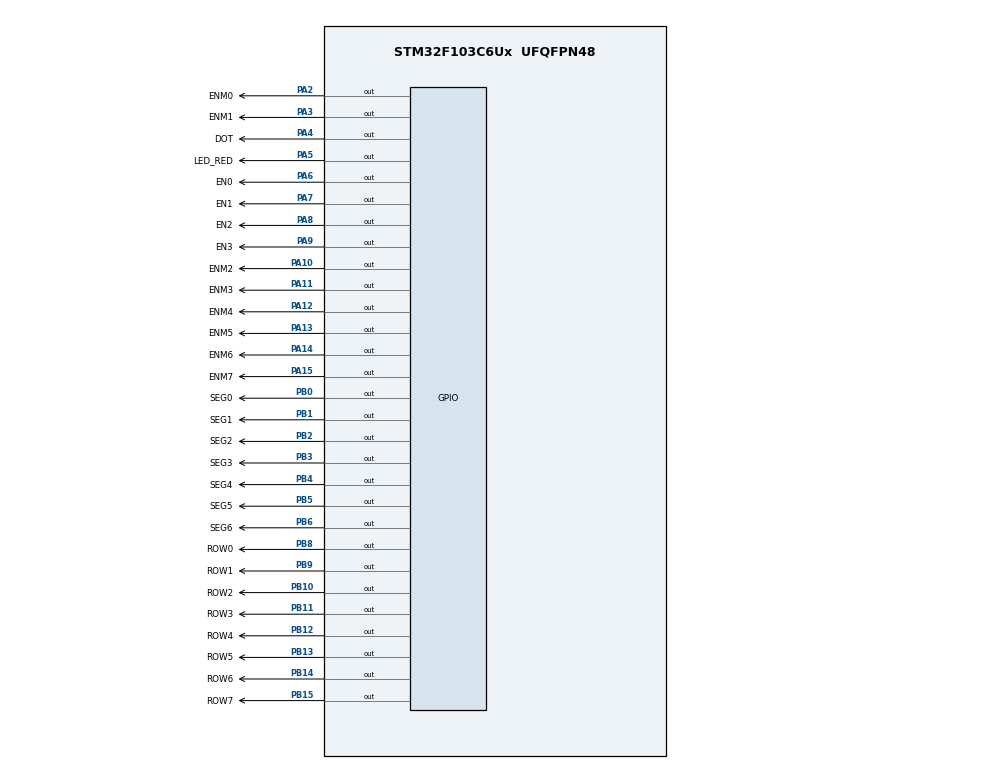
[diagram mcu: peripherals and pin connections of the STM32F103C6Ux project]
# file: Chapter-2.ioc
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Mcu.Family=STM32F1
Mcu.Name=STM32F103C6Ux
Mcu.Package=UFQFPN48
NVIC.PriorityGroup=NVIC_PRIORITYGROUP_4
NVIC.TIM2_IRQn=true\:0\:0\:false\:false\:true\:true\:true
PA10.GPIO_Label=ENM2
PA10.Signal=GPIO_Output
PA11.GPIO_Label=ENM3
PA11.Signal=GPIO_Output
PA12.GPIO_Label=ENM4
PA12.Signal=GPIO_Output
PA13.GPIO_Label=ENM5
PA13.Signal=GPIO_Output
PA14.GPIO_Label=ENM6
PA14.Signal=GPIO_Output
PA15.GPIO_Label=ENM7
PA15.Signal=GPIO_Output
PA2.GPIO_Label=ENM0
PA2.Signal=GPIO_Output
PA3.GPIO_Label=ENM1
PA3.Signal=GPIO_Output
PA4.GPIO_Label=DOT
PA4.Signal=GPIO_Output
PA5.GPIO_Label=LED_RED
PA5.Signal=GPIO_Output
PA6.GPIO_Label=EN0
PA6.Signal=GPIO_Output
PA7.GPIO_Label=EN1
PA7.Signal=GPIO_Output
PA8.GPIO_Label=EN2
PA8.Signal=GPIO_Output
PA9.GPIO_Label=EN3
PA9.Signal=GPIO_Output
PB0.GPIO_Label=SEG0
PB0.Signal=GPIO_Output
PB1.GPIO_Label=SEG1
PB1.Signal=GPIO_Output
PB10.GPIO_Label=ROW2
PB10.Signal=GPIO_Output
PB11.GPIO_Label=ROW3
PB11.Signal=GPIO_Output
PB12.GPIO_Label=ROW4
PB12.Signal=GPIO_Output
PB13.GPIO_Label=ROW5
PB13.Signal=GPIO_Output
PB14.GPIO_Label=ROW6
PB14.Signal=GPIO_Output
PB15.GPIO_Label=ROW7
PB15.Signal=GPIO_Output
PB2.GPIO_Label=SEG2
PB2.Signal=GPIO_Output
PB3.GPIO_Label=SEG3
PB3.Signal=GPIO_Output
PB4.GPIO_Label=SEG4
PB4.Signal=GPIO_Output
PB5.GPIO_Label=SEG5
PB5.Signal=GPIO_Output
PB6.GPIO_Label=SEG6
PB6.Signal=GPIO_Output
PB8.GPIO_Label=ROW0
PB8.Signal=GPIO_Output
PB9.GPIO_Label=ROW1
PB9.Signal=GPIO_Output
ProjectManager.HeapSize=0x200
ProjectManager.StackSize=0x400
ProjectManager.TargetToolchain=STM32CubeIDE
RCC.APB1Freq_Value=8000000
RCC.APB2Freq_Value=8000000
TIM2.Period=9
TIM2.Prescaler=799
VP_SYS_VS_ND.Mode=No_Debug
VP_TIM2_VS_ClockSourceINT.Mode=Internal
board=custom

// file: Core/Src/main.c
/* USER CODE BEGIN Header */
/**
  ******************************************************************************
  * @file           : main.c
  * @brief          : Main program body
  ******************************************************************************
  * @attention
  *
  * <h2><center>&copy; Copyright (c) 2025 STMicroelectronics.
  * All rights reserved.</center></h2>
  *
  * This software component is licensed by ST under BSD 3-Clause license,
  * the "License"; You may not use this file except in compliance with the
  * License. You may obtain a copy of the License at:
  *                        opensource.org/licenses/BSD-3-Clause
  *
  ******************************************************************************
  */
/* USER CODE END Header */
#include "main.h"

/* USER CODE BEGIN Includes */
#include "SoftwareTimer.h"
/* USER CODE END Includes */

TIM_HandleTypeDef htim2;

void SystemClock_Config(void);
static void MX_GPIO_Init(void);
static void MX_TIM2_Init(void);

/* USER CODE BEGIN 0 */
void display7SEG(int num)
{
	switch (num)
	{
		case 0:
			  HAL_GPIO_WritePin(SEG0_GPIO_Port, SEG0_Pin, RESET);
			  HAL_GPIO_WritePin(SEG1_GPIO_Port, SEG1_Pin, RESET);
			  HAL_GPIO_WritePin(SEG2_GPIO_Port, SEG2_Pin, RESET);
			  HAL_GPIO_WritePin(SEG3_GPIO_Port, SEG3_Pin, RESET);
			  HAL_GPIO_WritePin(SEG4_GPIO_Port, SEG4_Pin, RESET);
			  HAL_GPIO_WritePin(SEG5_GPIO_Port, SEG5_Pin, RESET);
			  HAL_GPIO_WritePin(SEG6_GPIO_Port, SEG6_Pin, SET);
			  break;
		case 1:
			  HAL_GPIO_WritePin(SEG0_GPIO_Port, SEG0_Pin, SET);
			  HAL_GPIO_WritePin(SEG1_GPIO_Port, SEG1_Pin, RESET);
			  HAL_GPIO_WritePin(SEG2_GPIO_Port, SEG2_Pin, RESET);
			  HAL_GPIO_WritePin(SEG3_GPIO_Port, SEG3_Pin, SET);
			  HAL_GPIO_WritePin(SEG4_GPIO_Port, SEG4_Pin, SET);
			  HAL_GPIO_WritePin(SEG5_GPIO_Port, SEG5_Pin, SET);
			  HAL_GPIO_WritePin(SEG6_GPIO_Port, SEG6_Pin, SET);
			  break;
		case 2:
			  HAL_GPIO_WritePin(SEG0_GPIO_Port, SEG0_Pin, RESET);
			  HAL_GPIO_WritePin(SEG1_GPIO_Port, SEG1_Pin, RESET);
			  HAL_GPIO_WritePin(SEG2_GPIO_Port, SEG2_Pin, SET);
			  HAL_GPIO_WritePin(SEG3_GPIO_Port, SEG3_Pin, RESET);
			  HAL_GPIO_WritePin(SEG4_GPIO_Port, SEG4_Pin, RESET);
			  HAL_GPIO_WritePin(SEG5_GPIO_Port, SEG5_Pin, SET);
			  HAL_GPIO_WritePin(SEG6_GPIO_Port, SEG6_Pin, RESET);
			  break;
		case 3:
			  HAL_GPIO_WritePin(SEG0_GPIO_Port, SEG0_Pin, RESET);
			  HAL_GPIO_WritePin(SEG1_GPIO_Port, SEG1_Pin, RESET);
			  HAL_GPIO_WritePin(SEG2_GPIO_Port, SEG2_Pin, RESET);
			  HAL_GPIO_WritePin(SEG3_GPIO_Port, SEG3_Pin, RESET);
			  HAL_GPIO_WritePin(SEG4_GPIO_Port, SEG4_Pin, SET);
			  HAL_GPIO_WritePin(SEG5_GPIO_Port, SEG5_Pin, SET);
			  HAL_GPIO_WritePin(SEG6_GPIO_Port, SEG6_Pin, RESET);
			  break;
		case 4:
			  HAL_GPIO_WritePin(SEG0_GPIO_Port, SEG0_Pin, SET);
			  HAL_GPIO_WritePin(SEG1_GPIO_Port, SEG1_Pin, RESET);
			  HAL_GPIO_WritePin(SEG2_GPIO_Port, SEG2_Pin, RESET);
			  HAL_GPIO_WritePin(SEG3_GPIO_Port, SEG3_Pin, SET);
			  HAL_GPIO_WritePin(SEG4_GPIO_Port, SEG4_Pin, SET);
			  HAL_GPIO_WritePin(SEG5_GPIO_Port, SEG5_Pin, RESET);
			  HAL_GPIO_WritePin(SEG6_GPIO_Port, SEG6_Pin, RESET);
			  break;
		case 5:
			  HAL_GPIO_WritePin(SEG0_GPIO_Port, SEG0_Pin, RESET);
			  HAL_GPIO_WritePin(SEG1_GPIO_Port, SEG1_Pin, SET);
			  HAL_GPIO_WritePin(SEG2_GPIO_Port, SEG2_Pin, RESET);
			  HAL_GPIO_WritePin(SEG3_GPIO_Port, SEG3_Pin, RESET);
			  HAL_GPIO_WritePin(SEG4_GPIO_Port, SEG4_Pin, SET);
			  HAL_GPIO_WritePin(SEG5_GPIO_Port, SEG5_Pin, RESET);
			  HAL_GPIO_WritePin(SEG6_GPIO_Port, SEG6_Pin, RESET);
			  break;
		case 6:
			  HAL_GPIO_WritePin(SEG0_GPIO_Port, SEG0_Pin, RESET);
			  HAL_GPIO_WritePin(SEG1_GPIO_Port, SEG1_Pin, SET);
			  HAL_GPIO_WritePin(SEG2_GPIO_Port, SEG2_Pin, RESET);
			  HAL_GPIO_WritePin(SEG3_GPIO_Port, SEG3_Pin, RESET);
			  HAL_GPIO_WritePin(SEG4_GPIO_Port, SEG4_Pin, RESET);
			  HAL_GPIO_WritePin(SEG5_GPIO_Port, SEG5_Pin, RESET);
			  HAL_GPIO_WritePin(SEG6_GPIO_Port, SEG6_Pin, RESET);
			  break;
		case 7:
			  HAL_GPIO_WritePin(SEG0_GPIO_Port, SEG0_Pin, RESET);
			  HAL_GPIO_WritePin(SEG1_GPIO_Port, SEG1_Pin, RESET);
			  HAL_GPIO_WritePin(SEG2_GPIO_Port, SEG2_Pin, RESET);
			  HAL_GPIO_WritePin(SEG3_GPIO_Port, SEG3_Pin, SET);
			  HAL_GPIO_WritePin(SEG4_GPIO_Port, SEG4_Pin, SET);
			  HAL_GPIO_WritePin(SEG5_GPIO_Port, SEG5_Pin, SET);
			  HAL_GPIO_WritePin(SEG6_GPIO_Port, SEG6_Pin, SET);
			  break;
		case 8:
			  HAL_GPIO_WritePin(SEG0_GPIO_Port, SEG0_Pin, RESET);
			  HAL_GPIO_WritePin(SEG1_GPIO_Port, SEG1_Pin, RESET);
			  HAL_GPIO_WritePin(SEG2_GPIO_Port, SEG2_Pin, RESET);
			  HAL_GPIO_WritePin(SEG3_GPIO_Port, SEG3_Pin, RESET);
			  HAL_GPIO_WritePin(SEG4_GPIO_Port, SEG4_Pin, RESET);
			  HAL_GPIO_WritePin(SEG5_GPIO_Port, SEG5_Pin, RESET);
			  HAL_GPIO_WritePin(SEG6_GPIO_Port, SEG6_Pin, RESET);
			  break;
		case 9:
			  HAL_GPIO_WritePin(SEG0_GPIO_Port, SEG0_Pin, RESET);
			  HAL_GPIO_WritePin(SEG1_GPIO_Port, SEG1_Pin, RESET);
			  HAL_GPIO_WritePin(SEG2_GPIO_Port, SEG2_Pin, RESET);
			  HAL_GPIO_WritePin(SEG3_GPIO_Port, SEG3_Pin, RESET);
			  HAL_GPIO_WritePin(SEG4_GPIO_Port, SEG4_Pin, SET);
			  HAL_GPIO_WritePin(SEG5_GPIO_Port, SEG5_Pin, RESET);
			  HAL_GPIO_WritePin(SEG6_GPIO_Port, SEG6_Pin, RESET);
			  break;
		default:
				break;
	}
}

const int MAX_LED = 4;
int index_led = 0;
int led_buffer[4] = {1, 2, 3, 4};
void update7SEG(int index)
{
    // Disable all segment
    HAL_GPIO_WritePin(EN0_GPIO_Port, EN0_Pin, SET);
    HAL_GPIO_WritePin(EN1_GPIO_Port, EN1_Pin, SET);
    HAL_GPIO_WritePin(EN2_GPIO_Port, EN2_Pin, SET);
    HAL_GPIO_WritePin(EN3_GPIO_Port, EN3_Pin, SET);

    // Update new data for index
    display7SEG(led_buffer[index]);

    // Display current index
    switch (index)
    {
        case 0: HAL_GPIO_WritePin(EN0_GPIO_Port, EN0_Pin, RESET); break;
        case 1: HAL_GPIO_WritePin(EN1_GPIO_Port, EN1_Pin, RESET); break;
        case 2: HAL_GPIO_WritePin(EN2_GPIO_Port, EN2_Pin, RESET); break;
        case 3: HAL_GPIO_WritePin(EN3_GPIO_Port, EN3_Pin, RESET); break;
        default: break;
    }
}

int hour = 15, minute = 8, second = 50;
void updateClockBuffer()
{
	led_buffer[0] = hour/10;
	led_buffer[1] = hour%10;
	led_buffer[2] = minute/10;
	led_buffer[3] = minute%10;
}

const int MAX_LED_MATRIX = 8;
int index_led_matrix = 0;
uint8_t matrix_buffer[8] = {
		0b00011000,
	    0b00111100,
	    0b01100110,
	    0b11000011,
	    0b11111111,
	    0b11111111,
	    0b11000011,
	    0b11000011
};

void displayROW(uint8_t matrix_buffer[], int index)
{
    GPIO_PinState state;
    for (int bit = 0; bit < 8; bit++)
    {
        state = (matrix_buffer[index] & (1 << bit)) ? RESET : SET;
        switch (bit)
        {
		case 0: HAL_GPIO_WritePin(ENM0_GPIO_Port, ENM0_Pin, state); break;
		case 1: HAL_GPIO_WritePin(ENM1_GPIO_Port, ENM1_Pin, state); break;
		case 2: HAL_GPIO_WritePin(ENM2_GPIO_Port, ENM2_Pin, state); break;
		case 3: HAL_GPIO_WritePin(ENM3_GPIO_Port, ENM3_Pin, state); break;
		case 4: HAL_GPIO_WritePin(ENM4_GPIO_Port, ENM4_Pin, state); break;
		case 5: HAL_GPIO_WritePin(ENM5_GPIO_Port, ENM5_Pin, state); break;
		case 6: HAL_GPIO_WritePin(ENM6_GPIO_Port, ENM6_Pin, state); break;
		case 7: HAL_GPIO_WritePin(ENM7_GPIO_Port, ENM7_Pin, state); break;
		default: break;
        }
    }
}

void updateLEDMatrix(int index)
{
	// Disable all leds
    HAL_GPIO_WritePin(ROW0_GPIO_Port, ROW0_Pin, SET);
    HAL_GPIO_WritePin(ROW1_GPIO_Port, ROW1_Pin, SET);
    HAL_GPIO_WritePin(ROW2_GPIO_Port, ROW2_Pin, SET);
    HAL_GPIO_WritePin(ROW3_GPIO_Port, ROW3_Pin, SET);
    HAL_GPIO_WritePin(ROW4_GPIO_Port, ROW4_Pin, SET);
    HAL_GPIO_WritePin(ROW5_GPIO_Port, ROW5_Pin, SET);
    HAL_GPIO_WritePin(ROW6_GPIO_Port, ROW6_Pin, SET);
    HAL_GPIO_WritePin(ROW7_GPIO_Port, ROW7_Pin, SET);

    // Update state for columns (of index = row)
    displayROW(matrix_buffer, index);

    // Display current row
    switch (index)
    {
    case 0: HAL_GPIO_WritePin(ROW0_GPIO_Port, ROW0_Pin, RESET); break;
    case 1: HAL_GPIO_WritePin(ROW1_GPIO_Port, ROW1_Pin, RESET); break;
    case 2: HAL_GPIO_WritePin(ROW2_GPIO_Port, ROW2_Pin, RESET); break;
    case 3: HAL_GPIO_WritePin(ROW3_GPIO_Port, ROW3_Pin, RESET); break;
    case 4: HAL_GPIO_WritePin(ROW4_GPIO_Port, ROW4_Pin, RESET); break;
    case 5: HAL_GPIO_WritePin(ROW5_GPIO_Port, ROW5_Pin, RESET); break;
    case 6: HAL_GPIO_WritePin(ROW6_GPIO_Port, ROW6_Pin, RESET); break;
    case 7: HAL_GPIO_WritePin(ROW7_GPIO_Port, ROW7_Pin, RESET); break;
    default: break;
    }
}

uint8_t animation_frames[][8] = {
		{0b00011000,
		 0b00000000,
		 0b00000000,
		 0b00000000,
		 0b00000000,
		 0b00000000,
		 0b00000000,
		 0b00000000}, // Frame 0

		{0b00111100,
		 0b00011000,
		 0b00000000,
		 0b00000000,
		 0b00000000,
		 0b00000000,
		 0b00000000,
		 0b00000000}, // Frame 1

		{0b01111110,
		 0b00111100,
		 0b00011000,
		 0b00000000,
		 0b00000000,
		 0b00000000,
		 0b00000000,
		 0b00000000}, // Frame 2

		{0b11111111,
		 0b01111110,
		 0b00111100,
		 0b00011000,
		 0b00000000,
		 0b00000000,
		 0b00000000,
		 0b00000000}, // Frame 3

		{0b11111111,
		 0b11111111,
		 0b01111110,
		 0b00111100,
		 0b00011000,
		 0b00000000,
		 0b00000000,
		 0b00000000}, // Frame 4

		{0b01100110,
		 0b11111111,
		 0b11111111,
		 0b01111110,
		 0b00111100,
		 0b00011000,
		 0b00000000,
		 0b00000000}, // Frame 5

		{0b00000000,
		 0b01100110,
		 0b11111111,
		 0b11111111,
		 0b01111110,
		 0b00111100,
		 0b00011000,
		 0b00000000}, // Frame 6

		{0b00000000,
		 0b11000011,
		 0b11100111,
		 0b11100111,
		 0b11100111,
		 0b01100110,
		 0b00100100,
		 0b00000000}, // Frame 7

		{0b00000000,
		 0b10000001,
		 0b11000011,
		 0b11000011,
		 0b11000011,
		 0b11000011,
		 0b01000010,
		 0b00000000}, // Frame 8

		{0b00000000,
		 0b00000000,
		 0b10000001,
		 0b10000001,
		 0b10000001,
		 0b10000001,
		 0b10000001,
		 0b00000000}, // Frame 9

		{0b00000000,
		 0b00000000,
		 0b00000000,
		 0b00000000,
		 0b00000000,
		 0b00000000,
		 0b00000000,
		 0b00000000}, // Frame 10
};

int current_frame = 0;
int total_frames = sizeof(animation_frames)/sizeof(animation_frames[0]);
uint16_t frame_delays[] = {100, 100, 100, 100, 100, 100, 500, 80, 80, 80, 80};
void updateAnimation()
{
	for (int i = 0; i < 8; i++)
	{
		matrix_buffer[i] = animation_frames[current_frame][i];
	}
	current_frame = (current_frame + 1)%total_frames;
}
/* USER CODE END 0 */

int main(void)
{

  /* MCU Configuration--------------------------------------------------------*/

  /* Reset of all peripherals, Initializes the Flash interface and the Systick. */
  HAL_Init();

  /* Configure the system clock */
  SystemClock_Config();

  /* Initialize all configured peripherals */
  MX_GPIO_Init();
  MX_TIM2_Init();
  /* USER CODE BEGIN 2 */
  HAL_TIM_Base_Start_IT(&htim2);
  /* USER CODE END 2 */

  /* Infinite loop */
  /* USER CODE BEGIN WHILE */
  setTimer(0, 10);
  setTimer(1, 25);
  setTimer(2, 40);
  setTimer(3, 30);
  while (1)
  {
	  updateClockBuffer();
	  if (timer_flag[0] == 1)
	  {
		  setTimer(0, 1000);
		  HAL_GPIO_TogglePin(LED_RED_GPIO_Port, LED_RED_Pin);
		  HAL_GPIO_TogglePin(DOT_GPIO_Port, DOT_Pin);
		  second++;
          if (second >= 60)
          {
              second = 0;
              minute++;
          }
          if (minute >= 60)
          {
              minute = 0;
              hour++;
          }
          if (hour >= 24)
          {
              hour = 0;
          }
	  }

	  if (timer_flag[1] == 1)
	  {
		  setTimer(1, 50);
		  update7SEG(index_led++);
		  if (index_led >= 4) index_led = 0;
	  }

	  if (timer_flag[2] == 1)
	  {
		  setTimer(2, 2);
		  updateLEDMatrix(index_led_matrix++);
		  if (index_led_matrix >= 8) index_led_matrix = 0;
	  }

	  if (timer_flag[3] == 1)
	  {
		  setTimer(3, frame_delays[current_frame]);
		  updateAnimation();
	  }
    /* USER CODE END WHILE */

  }
}

void SystemClock_Config(void)
{
  RCC_OscInitTypeDef RCC_OscInitStruct = {0};
  RCC_ClkInitTypeDef RCC_ClkInitStruct = {0};

  /** Initializes the RCC Oscillators according to the specified parameters
  * in the RCC_OscInitTypeDef structure.
  */
  RCC_OscInitStruct.OscillatorType = RCC_OSCILLATORTYPE_HSI;
  RCC_OscInitStruct.HSIState = RCC_HSI_ON;
  RCC_OscInitStruct.HSICalibrationValue = RCC_HSICALIBRATION_DEFAULT;
  RCC_OscInitStruct.PLL.PLLState = RCC_PLL_NONE;
  if (HAL_RCC_OscConfig(&RCC_OscInitStruct) != HAL_OK)
  {
    Error_Handler();
  }
  /** Initializes the CPU, AHB and APB buses clocks
  */
  RCC_ClkInitStruct.ClockType = RCC_CLOCKTYPE_HCLK|RCC_CLOCKTYPE_SYSCLK
                              |RCC_CLOCKTYPE_PCLK1|RCC_CLOCKTYPE_PCLK2;
  RCC_ClkInitStruct.SYSCLKSource = RCC_SYSCLKSOURCE_HSI;
  RCC_ClkInitStruct.AHBCLKDivider = RCC_SYSCLK_DIV1;
  RCC_ClkInitStruct.APB1CLKDivider = RCC_HCLK_DIV1;
  RCC_ClkInitStruct.APB2CLKDivider = RCC_HCLK_DIV1;

  if (HAL_RCC_ClockConfig(&RCC_ClkInitStruct, FLASH_LATENCY_0) != HAL_OK)
  {
    Error_Handler();
  }
}

static void MX_TIM2_Init(void)
{

  TIM_ClockConfigTypeDef sClockSourceConfig = {0};
  TIM_MasterConfigTypeDef sMasterConfig = {0};

  htim2.Instance = TIM2;
  htim2.Init.Prescaler = 799;
  htim2.Init.CounterMode = TIM_COUNTERMODE_UP;
  htim2.Init.Period = 9;
  htim2.Init.ClockDivision = TIM_CLOCKDIVISION_DIV1;
  htim2.Init.AutoReloadPreload = TIM_AUTORELOAD_PRELOAD_DISABLE;
  if (HAL_TIM_Base_Init(&htim2) != HAL_OK)
  {
    Error_Handler();
  }
  sClockSourceConfig.ClockSource = TIM_CLOCKSOURCE_INTERNAL;
  if (HAL_TIM_ConfigClockSource(&htim2, &sClockSourceConfig) != HAL_OK)
  {
    Error_Handler();
  }
  sMasterConfig.MasterOutputTrigger = TIM_TRGO_RESET;
  sMasterConfig.MasterSlaveMode = TIM_MASTERSLAVEMODE_DISABLE;
  if (HAL_TIMEx_MasterConfigSynchronization(&htim2, &sMasterConfig) != HAL_OK)
  {
    Error_Handler();
  }

}

static void MX_GPIO_Init(void)
{
  GPIO_InitTypeDef GPIO_InitStruct = {0};

  /* GPIO Ports Clock Enable */
  __HAL_RCC_GPIOA_CLK_ENABLE();
  __HAL_RCC_GPIOB_CLK_ENABLE();

  /*Configure GPIO pin Output Level */
  HAL_GPIO_WritePin(GPIOA, ENM0_Pin|ENM1_Pin|DOT_Pin|LED_RED_Pin
                          |EN0_Pin|EN1_Pin|EN2_Pin|EN3_Pin
                          |ENM2_Pin|ENM3_Pin|ENM4_Pin|ENM5_Pin
                          |ENM6_Pin|ENM7_Pin, GPIO_PIN_RESET);

  /*Configure GPIO pin Output Level */
  HAL_GPIO_WritePin(GPIOB, SEG0_Pin|SEG1_Pin|SEG2_Pin|ROW2_Pin
                          |ROW3_Pin|ROW4_Pin|ROW5_Pin|ROW6_Pin
                          |ROW7_Pin|SEG3_Pin|SEG4_Pin|SEG5_Pin
                          |SEG6_Pin|ROW0_Pin|ROW1_Pin, GPIO_PIN_RESET);

  /*Configure GPIO pins : ENM0_Pin ENM1_Pin DOT_Pin LED_RED_Pin
                           EN0_Pin EN1_Pin EN2_Pin EN3_Pin
                           ENM2_Pin ENM3_Pin ENM4_Pin ENM5_Pin
                           ENM6_Pin ENM7_Pin */
  GPIO_InitStruct.Pin = ENM0_Pin|ENM1_Pin|DOT_Pin|LED_RED_Pin
                          |EN0_Pin|EN1_Pin|EN2_Pin|EN3_Pin
                          |ENM2_Pin|ENM3_Pin|ENM4_Pin|ENM5_Pin
                          |ENM6_Pin|ENM7_Pin;
  GPIO_InitStruct.Mode = GPIO_MODE_OUTPUT_PP;
  GPIO_InitStruct.Pull = GPIO_NOPULL;
  GPIO_InitStruct.Speed = GPIO_SPEED_FREQ_LOW;
  HAL_GPIO_Init(GPIOA, &GPIO_InitStruct);

  /*Configure GPIO pins : SEG0_Pin SEG1_Pin SEG2_Pin ROW2_Pin
                           ROW3_Pin ROW4_Pin ROW5_Pin ROW6_Pin
                           ROW7_Pin SEG3_Pin SEG4_Pin SEG5_Pin
                           SEG6_Pin ROW0_Pin ROW1_Pin */
  GPIO_InitStruct.Pin = SEG0_Pin|SEG1_Pin|SEG2_Pin|ROW2_Pin
                          |ROW3_Pin|ROW4_Pin|ROW5_Pin|ROW6_Pin
                          |ROW7_Pin|SEG3_Pin|SEG4_Pin|SEG5_Pin
                          |SEG6_Pin|ROW0_Pin|ROW1_Pin;
  GPIO_InitStruct.Mode = GPIO_MODE_OUTPUT_PP;
  GPIO_InitStruct.Pull = GPIO_NOPULL;
  GPIO_InitStruct.Speed = GPIO_SPEED_FREQ_LOW;
  HAL_GPIO_Init(GPIOB, &GPIO_InitStruct);

}

/* USER CODE BEGIN 4 */
void HAL_TIM_PeriodElapsedCallback(TIM_HandleTypeDef *htim)
{
	timerRun();
}
/* USER CODE END 4 */

void Error_Handler(void)
{
  __disable_irq();
  while (1)
  {
  }
}

/************************ (C) COPYRIGHT STMicroelectronics *****END OF FILE****/
